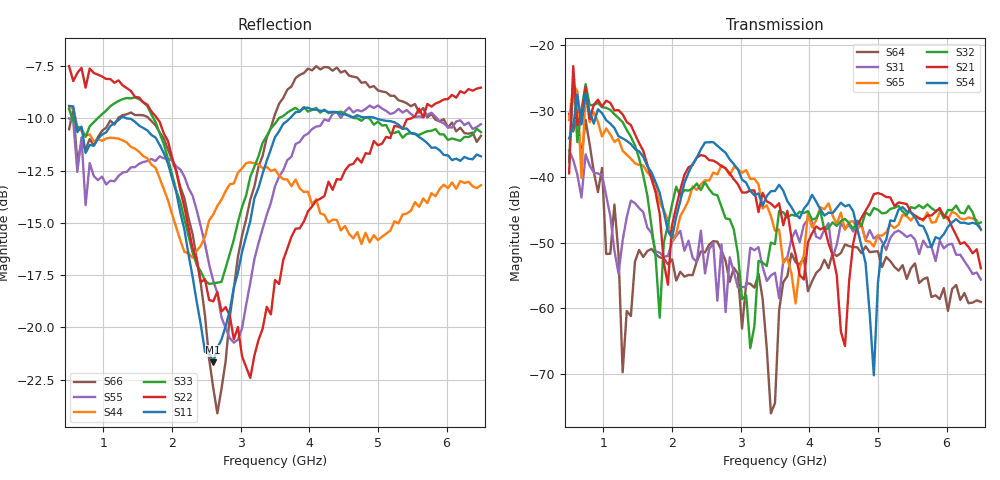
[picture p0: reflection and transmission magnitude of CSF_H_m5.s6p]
!Keysight Technologies,M9804A,MY58100912,A.14.10.03
!Date: Thursday, April 27, 2023 10:28:33
!Correction: S11(C  6-Port  )
!S12(C  6-Port  )
!S13(C  6-Port  )
!S14(C  6-Port  )
!S15(C  6-Port  )
!S16(C  6-Port  )
!S21(C  6-Port  )
!S22(C  6-Port  )
!S23(C  6-Port  )
!S24(C  6-Port  )
!S25(C  6-Port  )
!S26(C  6-Port  )
!S31(C  6-Port  )
!S32(C  6-Port  )
!S33(C  6-Port  )
!S34(C  6-Port  )
!S35(C  6-Port  )
!S36(C  6-Port  )
!S41(C  6-Port  )
!S42(C  6-Port  )
!S43(C  6-Port  )
!S44(C  6-Port  )
!S45(C  6-Port  )
!S46(C  6-Port  )
!S51(C  6-Port  )
!S52(C  6-Port  )
!S53(C  6-Port  )
!S54(C  6-Port  )
!S55(C  6-Port  )
!S56(C  6-Port  )
!S61(C  6-Port  )
!S62(C  6-Port  )
!S63(C  6-Port  )
!S64(C  6-Port  )
!S65(C  6-Port  )
!S66(C  6-Port  )
!S6P File: Measurement: :
# Hz S  RI  R 50
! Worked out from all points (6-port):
!   101 points, 500 MHz to 6.5 GHz, reference 50 ohm
!   strongest paths, dB at 500 MHz, 2 GHz, 3.5 GHz, 5 GHz, 6.5 GHz:
!     S54: -34.2, -49.3, -42.2, -56.1, -48.0
!     S21: -39.5, -47.3, -44.7, -42.5, -53.9
!     S32: -37.8, -44.2, -50.2, -45.0, -46.9
!     S65: -31.4, -49.7, -48.2, -48.9, -48.1
!     S31: -36.0, -49.9, -54.6, -48.9, -55.6
!     S64: -30.4, -52.5, -74.4, -51.3, -59.0
!   lowest |S11| = -21.7 dB at 2.6 GHz (marker M1), VSWR 1.18, Z = 42.6 + j1.98 ohm
!   |S11| at or under -10 dB: 588.2 MHz to 1.246 GHz (657.4 MHz wide, 71.7 % of centre); 1.347 GHz to 3.714 GHz (2.367 GHz wide, 93.6 % of centre); 4.974 GHz to end of sweep
